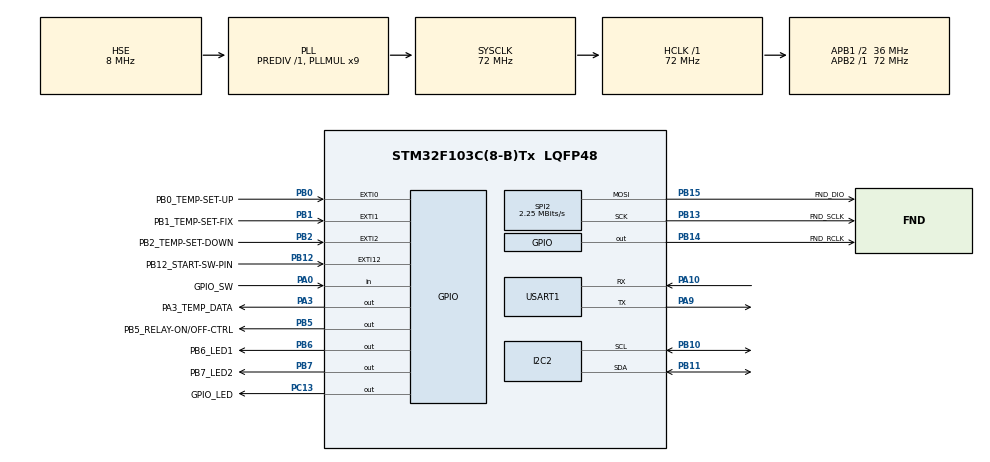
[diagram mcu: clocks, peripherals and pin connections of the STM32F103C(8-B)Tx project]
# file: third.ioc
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I2C2.I2C_Mode=I2C_Fast
Mcu.Family=STM32F1
Mcu.Name=STM32F103C(8-B)Tx
Mcu.Package=LQFP48
NVIC.EXTI0_IRQn=true\:9\:0\:true\:false\:true\:true\:true\:true
NVIC.EXTI15_10_IRQn=true\:9\:0\:true\:false\:true\:true\:true\:true
NVIC.EXTI1_IRQn=true\:9\:0\:true\:false\:true\:true\:true\:true
NVIC.EXTI2_IRQn=true\:9\:0\:true\:false\:true\:true\:true\:true
NVIC.PriorityGroup=NVIC_PRIORITYGROUP_4
NVIC.TIM3_IRQn=true\:13\:0\:true\:false\:true\:true\:true\:true
PA0-WKUP.GPIO_Label=GPIO_SW
PA0-WKUP.GPIO_PuPd=GPIO_PULLUP
PA0-WKUP.Signal=GPIO_Input
PA10.Mode=Asynchronous
PA10.Signal=USART1_RX
PA13.Mode=Serial_Wire
PA13.Signal=SYS_JTMS-SWDIO
PA14.Mode=Serial_Wire
PA14.Signal=SYS_JTCK-SWCLK
PA3.GPIO_Label=PA3_TEMP_DATA
PA3.GPIO_ModeDefaultOutputPP=GPIO_MODE_OUTPUT_PP
PA3.GPIO_PuPd=GPIO_PULLUP
PA3.GPIO_Speed=GPIO_SPEED_FREQ_HIGH
PA3.PinState=GPIO_PIN_SET
PA3.Signal=GPIO_Output
PA9.Mode=Asynchronous
PA9.Signal=USART1_TX
PB0.GPIO_Label=PB0_TEMP-SET-UP
PB0.GPIO_ModeDefaultEXTI=GPIO_MODE_IT_FALLING
PB0.GPIO_PuPd=GPIO_PULLUP
PB0.Signal=GPXTI0
PB1.GPIO_Label=PB1_TEMP-SET-FIX
PB1.GPIO_ModeDefaultEXTI=GPIO_MODE_IT_FALLING
PB1.GPIO_PuPd=GPIO_PULLUP
PB1.Signal=GPXTI1
PB10.Mode=I2C
PB10.Signal=I2C2_SCL
PB11.Mode=I2C
PB11.Signal=I2C2_SDA
PB12.GPIO_Label=PB12_START-SW-PIN
PB12.GPIO_ModeDefaultEXTI=GPIO_MODE_IT_FALLING
PB12.GPIO_PuPd=GPIO_PULLUP
PB12.Signal=GPXTI12
PB13.GPIO_Label=FND_SCLK
PB13.Mode=TX_Only_Simplex_Unidirect_Master
PB13.Signal=SPI2_SCK
PB14.GPIO_Label=FND_RCLK
PB14.GPIO_ModeDefaultOutputPP=GPIO_MODE_OUTPUT_PP
PB14.GPIO_PuPd=GPIO_PULLUP
PB14.GPIO_Speed=GPIO_SPEED_FREQ_HIGH
PB14.PinState=GPIO_PIN_SET
PB14.Signal=GPIO_Output
PB15.GPIO_Label=FND_DIO
PB15.Mode=TX_Only_Simplex_Unidirect_Master
PB15.Signal=SPI2_MOSI
PB2.GPIO_Label=PB2_TEMP-SET-DOWN
PB2.GPIO_ModeDefaultEXTI=GPIO_MODE_IT_FALLING
PB2.GPIO_PuPd=GPIO_PULLUP
PB2.Signal=GPXTI2
PB5.GPIO_Label=PB5_RELAY-ON/OFF-CTRL
PB5.GPIO_ModeDefaultOutputPP=GPIO_MODE_OUTPUT_PP
PB5.GPIO_PuPd=GPIO_PULLDOWN
PB5.GPIO_Speed=GPIO_SPEED_FREQ_HIGH
PB5.Signal=GPIO_Output
PB6.GPIO_Label=PB6_LED1
PB6.GPIO_ModeDefaultOutputPP=GPIO_MODE_OUTPUT_PP
PB6.GPIO_PuPd=GPIO_PULLUP
PB6.GPIO_Speed=GPIO_SPEED_FREQ_HIGH
PB6.PinState=GPIO_PIN_SET
PB6.Signal=GPIO_Output
PB7.GPIO_Label=PB7_LED2
PB7.GPIO_ModeDefaultOutputPP=GPIO_MODE_OUTPUT_PP
PB7.GPIO_PuPd=GPIO_PULLUP
PB7.GPIO_Speed=GPIO_SPEED_FREQ_HIGH
PB7.PinState=GPIO_PIN_SET
PB7.Signal=GPIO_Output
PC13-TAMPER-RTC.GPIO_Label=GPIO_LED
PC13-TAMPER-RTC.GPIO_PuPd=GPIO_PULLDOWN
PC13-TAMPER-RTC.GPIO_Speed=GPIO_SPEED_FREQ_HIGH
PC13-TAMPER-RTC.PinState=GPIO_PIN_SET
PC13-TAMPER-RTC.Signal=GPIO_Output
PC14-OSC32_IN.Mode=LSE-External-Oscillator
PC14-OSC32_IN.Signal=RCC_OSC32_IN
PC15-OSC32_OUT.Mode=LSE-External-Oscillator
PC15-OSC32_OUT.Signal=RCC_OSC32_OUT
PD0-OSC_IN.Mode=HSE-External-Oscillator
PD0-OSC_IN.Signal=RCC_OSC_IN
PD1-OSC_OUT.Mode=HSE-External-Oscillator
PD1-OSC_OUT.Signal=RCC_OSC_OUT
ProjectManager.HeapSize=0x200
ProjectManager.StackSize=0x400
ProjectManager.TargetToolchain=STM32CubeIDE
RCC.AHBFreq_Value=72000000
RCC.APB1CLKDivider=RCC_HCLK_DIV2
RCC.APB1Freq_Value=36000000
RCC.APB1TimFreq_Value=72000000
RCC.APB2Freq_Value=72000000
RCC.APB2TimFreq_Value=72000000
RCC.HCLKFreq_Value=72000000
RCC.PLLMUL=RCC_PLL_MUL9
RCC.PLLSourceVirtual=RCC_PLLSOURCE_HSE
RCC.SYSCLKFreq_VALUE=72000000
RCC.SYSCLKSource=RCC_SYSCLKSOURCE_PLLCLK
RCC.USBFreq_Value=72000000
SPI2.BaudRatePrescaler=SPI_BAUDRATEPRESCALER_16
SPI2.CLKPolarity=SPI_POLARITY_LOW
SPI2.CalculateBaudRate=2.25 MBits/s
SPI2.Direction=SPI_DIRECTION_2LINES
SPI2.FirstBit=SPI_FIRSTBIT_MSB
SPI2.Mode=SPI_MODE_MASTER
SPI2.VirtualType=VM_MASTER
TIM2.Prescaler=71
TIM3.Period=24
TIM3.Prescaler=71
USART1.VirtualMode=VM_ASYNC
VP_TIM2_VS_ClockSourceINT.Mode=Internal
VP_TIM3_VS_ClockSourceINT.Mode=Internal
board=custom

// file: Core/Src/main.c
/* USER CODE BEGIN Header */
/**
  ******************************************************************************
  * @file           : main.c
  * @brief          : Main program body
  ******************************************************************************
  * @attention
  *
  * Copyright (c) 2025 STMicroelectronics.
  * All rights reserved.
  *
  * This software is licensed under terms that can be found in the LICENSE file
  * in the root directory of this software component.
  * If no LICENSE file comes with this software, it is provided AS-IS.
  *
  ******************************************************************************
  */
/* USER CODE END Header */
#include "main.h"

/* USER CODE BEGIN Includes */
#include "fnd_controller.h"
#include "util.h"
#include "g_var.h"
#include "ds18b20.h"
#include "fonts.h"
#include "ssd1306.h"
#include "bitmap.h"
#include "oledController.h"
#include "buttonController.h"
#include <stdio.h>
#include "heaterController.h"

/* USER CODE END Includes */

I2C_HandleTypeDef hi2c2;

SPI_HandleTypeDef hspi2;

TIM_HandleTypeDef htim2;
TIM_HandleTypeDef htim3;

UART_HandleTypeDef huart1;

void SystemClock_Config(void);
static void MX_GPIO_Init(void);
static void MX_USART1_UART_Init(void);
static void MX_SPI2_Init(void);
static void MX_TIM2_Init(void);
static void MX_TIM3_Init(void);
static void MX_I2C2_Init(void);

/* USER CODE BEGIN 0 */

int _write(int file, char *p, int len){
	HAL_UART_Transmit(&huart1, (uint8_t*)p, len, 10);
		return len;
}

/* USER CODE END 0 */

int main(void)
{

  /* MCU Configuration--------------------------------------------------------*/

  /* Reset of all peripherals, Initializes the Flash interface and the Systick. */
  HAL_Init();

  /* USER CODE BEGIN Init */
  init_fnd();
  /* USER CODE END Init */

  /* Configure the system clock */
  SystemClock_Config();

  /* Initialize all configured peripherals */
  MX_GPIO_Init();
  MX_USART1_UART_Init();
  MX_SPI2_Init();
  MX_TIM2_Init();
  MX_TIM3_Init();
  MX_I2C2_Init();
  /* USER CODE BEGIN 2 */
  Ds18b20_Init();
  HAL_TIM_Base_Start(&htim2);
  HAL_TIM_Base_Start_IT(&htim3);
  SSD1306_Init();

  //오프닝 화면
  opening();

  char msg[] = "UART direct test\r\n";
  HAL_UART_Transmit(&huart1, (uint8_t*)msg, strlen(msg), HAL_MAX_DELAY);

  /* USER CODE END 2 */

  /* Infinite loop */
  /* USER CODE BEGIN WHILE */

static int m_count = 0;
static int m_first = 0;
static GPIO_PinState prev_state = GPIO_PIN_RESET;
  while (1)
  {

	  checkButton();// 버튼 인터럽트 확인

	  if(m_count > 100 || m_first == 0){

		  Ds18b20_ManualConvert();  // 시간이 오래 걸리더라도,
		  g_temper = (int)(ds18b20[0].Temperature * 10);  // 미리 저장만 함
		  heaterControl(g_temper);
		  heater_state = HAL_GPIO_ReadPin(PB5_RELAY_ON_OFF_CTRL_GPIO_Port, PB5_RELAY_ON_OFF_CTRL_Pin);
		  if(heater_state != prev_state){
			  prev_state = heater_state;
			  printHeaterState(heater_state);
		  }
		  //printHeaterState(heater_state);

		  m_count = 0;
		  m_first = 1;
	  }

	m_count++;

	HAL_Delay(10);

    /* USER CODE END WHILE */

  }
}

void SystemClock_Config(void)
{
  RCC_OscInitTypeDef RCC_OscInitStruct = {0};
  RCC_ClkInitTypeDef RCC_ClkInitStruct = {0};

  /** Initializes the RCC Oscillators according to the specified parameters
  * in the RCC_OscInitTypeDef structure.
  */
  RCC_OscInitStruct.OscillatorType = RCC_OSCILLATORTYPE_HSE;
  RCC_OscInitStruct.HSEState = RCC_HSE_ON;
  RCC_OscInitStruct.HSEPredivValue = RCC_HSE_PREDIV_DIV1;
  RCC_OscInitStruct.HSIState = RCC_HSI_ON;
  RCC_OscInitStruct.PLL.PLLState = RCC_PLL_ON;
  RCC_OscInitStruct.PLL.PLLSource = RCC_PLLSOURCE_HSE;
  RCC_OscInitStruct.PLL.PLLMUL = RCC_PLL_MUL9;
  if (HAL_RCC_OscConfig(&RCC_OscInitStruct) != HAL_OK)
  {
    Error_Handler();
  }

  /** Initializes the CPU, AHB and APB buses clocks
  */
  RCC_ClkInitStruct.ClockType = RCC_CLOCKTYPE_HCLK|RCC_CLOCKTYPE_SYSCLK
                              |RCC_CLOCKTYPE_PCLK1|RCC_CLOCKTYPE_PCLK2;
  RCC_ClkInitStruct.SYSCLKSource = RCC_SYSCLKSOURCE_PLLCLK;
  RCC_ClkInitStruct.AHBCLKDivider = RCC_SYSCLK_DIV1;
  RCC_ClkInitStruct.APB1CLKDivider = RCC_HCLK_DIV2;
  RCC_ClkInitStruct.APB2CLKDivider = RCC_HCLK_DIV1;

  if (HAL_RCC_ClockConfig(&RCC_ClkInitStruct, FLASH_LATENCY_2) != HAL_OK)
  {
    Error_Handler();
  }
}

static void MX_I2C2_Init(void)
{

  hi2c2.Instance = I2C2;
  hi2c2.Init.ClockSpeed = 400000;
  hi2c2.Init.DutyCycle = I2C_DUTYCYCLE_2;
  hi2c2.Init.OwnAddress1 = 0;
  hi2c2.Init.AddressingMode = I2C_ADDRESSINGMODE_7BIT;
  hi2c2.Init.DualAddressMode = I2C_DUALADDRESS_DISABLE;
  hi2c2.Init.OwnAddress2 = 0;
  hi2c2.Init.GeneralCallMode = I2C_GENERALCALL_DISABLE;
  hi2c2.Init.NoStretchMode = I2C_NOSTRETCH_DISABLE;
  if (HAL_I2C_Init(&hi2c2) != HAL_OK)
  {
    Error_Handler();
  }

}

static void MX_SPI2_Init(void)
{

  /* SPI2 parameter configuration*/
  hspi2.Instance = SPI2;
  hspi2.Init.Mode = SPI_MODE_MASTER;
  hspi2.Init.Direction = SPI_DIRECTION_2LINES;
  hspi2.Init.DataSize = SPI_DATASIZE_8BIT;
  hspi2.Init.CLKPolarity = SPI_POLARITY_LOW;
  hspi2.Init.CLKPhase = SPI_PHASE_1EDGE;
  hspi2.Init.NSS = SPI_NSS_SOFT;
  hspi2.Init.BaudRatePrescaler = SPI_BAUDRATEPRESCALER_16;
  hspi2.Init.FirstBit = SPI_FIRSTBIT_MSB;
  hspi2.Init.TIMode = SPI_TIMODE_DISABLE;
  hspi2.Init.CRCCalculation = SPI_CRCCALCULATION_DISABLE;
  hspi2.Init.CRCPolynomial = 10;
  if (HAL_SPI_Init(&hspi2) != HAL_OK)
  {
    Error_Handler();
  }

}

static void MX_TIM2_Init(void)
{

  TIM_ClockConfigTypeDef sClockSourceConfig = {0};
  TIM_MasterConfigTypeDef sMasterConfig = {0};

  htim2.Instance = TIM2;
  htim2.Init.Prescaler = 71;
  htim2.Init.CounterMode = TIM_COUNTERMODE_UP;
  htim2.Init.Period = 65535;
  htim2.Init.ClockDivision = TIM_CLOCKDIVISION_DIV1;
  htim2.Init.AutoReloadPreload = TIM_AUTORELOAD_PRELOAD_DISABLE;
  if (HAL_TIM_Base_Init(&htim2) != HAL_OK)
  {
    Error_Handler();
  }
  sClockSourceConfig.ClockSource = TIM_CLOCKSOURCE_INTERNAL;
  if (HAL_TIM_ConfigClockSource(&htim2, &sClockSourceConfig) != HAL_OK)
  {
    Error_Handler();
  }
  sMasterConfig.MasterOutputTrigger = TIM_TRGO_RESET;
  sMasterConfig.MasterSlaveMode = TIM_MASTERSLAVEMODE_DISABLE;
  if (HAL_TIMEx_MasterConfigSynchronization(&htim2, &sMasterConfig) != HAL_OK)
  {
    Error_Handler();
  }

}

static void MX_TIM3_Init(void)
{

  TIM_ClockConfigTypeDef sClockSourceConfig = {0};
  TIM_MasterConfigTypeDef sMasterConfig = {0};

  htim3.Instance = TIM3;
  htim3.Init.Prescaler = 71;
  htim3.Init.CounterMode = TIM_COUNTERMODE_UP;
  htim3.Init.Period = 24;
  htim3.Init.ClockDivision = TIM_CLOCKDIVISION_DIV1;
  htim3.Init.AutoReloadPreload = TIM_AUTORELOAD_PRELOAD_DISABLE;
  if (HAL_TIM_Base_Init(&htim3) != HAL_OK)
  {
    Error_Handler();
  }
  sClockSourceConfig.ClockSource = TIM_CLOCKSOURCE_INTERNAL;
  if (HAL_TIM_ConfigClockSource(&htim3, &sClockSourceConfig) != HAL_OK)
  {
    Error_Handler();
  }
  sMasterConfig.MasterOutputTrigger = TIM_TRGO_RESET;
  sMasterConfig.MasterSlaveMode = TIM_MASTERSLAVEMODE_DISABLE;
  if (HAL_TIMEx_MasterConfigSynchronization(&htim3, &sMasterConfig) != HAL_OK)
  {
    Error_Handler();
  }

}

static void MX_USART1_UART_Init(void)
{

  huart1.Instance = USART1;
  huart1.Init.BaudRate = 115200;
  huart1.Init.WordLength = UART_WORDLENGTH_8B;
  huart1.Init.StopBits = UART_STOPBITS_1;
  huart1.Init.Parity = UART_PARITY_NONE;
  huart1.Init.Mode = UART_MODE_TX_RX;
  huart1.Init.HwFlowCtl = UART_HWCONTROL_NONE;
  huart1.Init.OverSampling = UART_OVERSAMPLING_16;
  if (HAL_UART_Init(&huart1) != HAL_OK)
  {
    Error_Handler();
  }

}

static void MX_GPIO_Init(void)
{
  GPIO_InitTypeDef GPIO_InitStruct = {0};

  /* GPIO Ports Clock Enable */
  __HAL_RCC_GPIOC_CLK_ENABLE();
  __HAL_RCC_GPIOD_CLK_ENABLE();
  __HAL_RCC_GPIOA_CLK_ENABLE();
  __HAL_RCC_GPIOB_CLK_ENABLE();

  /*Configure GPIO pin Output Level */
  HAL_GPIO_WritePin(GPIO_LED_GPIO_Port, GPIO_LED_Pin, GPIO_PIN_SET);

  /*Configure GPIO pin Output Level */
  HAL_GPIO_WritePin(PA3_TEMP_DATA_GPIO_Port, PA3_TEMP_DATA_Pin, GPIO_PIN_SET);

  /*Configure GPIO pin Output Level */
  HAL_GPIO_WritePin(GPIOB, FND_RCLK_Pin|PB6_LED1_Pin|PB7_LED2_Pin, GPIO_PIN_SET);

  /*Configure GPIO pin Output Level */
  HAL_GPIO_WritePin(PB5_RELAY_ON_OFF_CTRL_GPIO_Port, PB5_RELAY_ON_OFF_CTRL_Pin, GPIO_PIN_RESET);

  /*Configure GPIO pin : GPIO_LED_Pin */
  GPIO_InitStruct.Pin = GPIO_LED_Pin;
  GPIO_InitStruct.Mode = GPIO_MODE_OUTPUT_PP;
  GPIO_InitStruct.Pull = GPIO_PULLDOWN;
  GPIO_InitStruct.Speed = GPIO_SPEED_FREQ_HIGH;
  HAL_GPIO_Init(GPIO_LED_GPIO_Port, &GPIO_InitStruct);

  /*Configure GPIO pin : GPIO_SW_Pin */
  GPIO_InitStruct.Pin = GPIO_SW_Pin;
  GPIO_InitStruct.Mode = GPIO_MODE_INPUT;
  GPIO_InitStruct.Pull = GPIO_PULLUP;
  HAL_GPIO_Init(GPIO_SW_GPIO_Port, &GPIO_InitStruct);

  /*Configure GPIO pin : PA3_TEMP_DATA_Pin */
  GPIO_InitStruct.Pin = PA3_TEMP_DATA_Pin;
  GPIO_InitStruct.Mode = GPIO_MODE_OUTPUT_PP;
  GPIO_InitStruct.Pull = GPIO_PULLUP;
  GPIO_InitStruct.Speed = GPIO_SPEED_FREQ_HIGH;
  HAL_GPIO_Init(PA3_TEMP_DATA_GPIO_Port, &GPIO_InitStruct);

  /*Configure GPIO pins : PB0_TEMP_SET_UP_Pin PB1_TEMP_SET_FIX_Pin PB2_TEMP_SET_DOWN_Pin PB12_START_SW_PIN_Pin */
  GPIO_InitStruct.Pin = PB0_TEMP_SET_UP_Pin|PB1_TEMP_SET_FIX_Pin|PB2_TEMP_SET_DOWN_Pin|PB12_START_SW_PIN_Pin;
  GPIO_InitStruct.Mode = GPIO_MODE_IT_FALLING;
  GPIO_InitStruct.Pull = GPIO_PULLUP;
  HAL_GPIO_Init(GPIOB, &GPIO_InitStruct);

  /*Configure GPIO pins : FND_RCLK_Pin PB6_LED1_Pin PB7_LED2_Pin */
  GPIO_InitStruct.Pin = FND_RCLK_Pin|PB6_LED1_Pin|PB7_LED2_Pin;
  GPIO_InitStruct.Mode = GPIO_MODE_OUTPUT_PP;
  GPIO_InitStruct.Pull = GPIO_PULLUP;
  GPIO_InitStruct.Speed = GPIO_SPEED_FREQ_HIGH;
  HAL_GPIO_Init(GPIOB, &GPIO_InitStruct);

  /*Configure GPIO pin : PB5_RELAY_ON_OFF_CTRL_Pin */
  GPIO_InitStruct.Pin = PB5_RELAY_ON_OFF_CTRL_Pin;
  GPIO_InitStruct.Mode = GPIO_MODE_OUTPUT_PP;
  GPIO_InitStruct.Pull = GPIO_PULLDOWN;
  GPIO_InitStruct.Speed = GPIO_SPEED_FREQ_HIGH;
  HAL_GPIO_Init(PB5_RELAY_ON_OFF_CTRL_GPIO_Port, &GPIO_InitStruct);

  /* EXTI interrupt init*/
  HAL_NVIC_SetPriority(EXTI0_IRQn, 9, 0);
  HAL_NVIC_EnableIRQ(EXTI0_IRQn);

  HAL_NVIC_SetPriority(EXTI1_IRQn, 9, 0);
  HAL_NVIC_EnableIRQ(EXTI1_IRQn);

  HAL_NVIC_SetPriority(EXTI2_IRQn, 9, 0);
  HAL_NVIC_EnableIRQ(EXTI2_IRQn);

  HAL_NVIC_SetPriority(EXTI15_10_IRQn, 9, 0);
  HAL_NVIC_EnableIRQ(EXTI15_10_IRQn);

}

void Error_Handler(void)
{
  __disable_irq();
  while (1)
  {
  }
}
